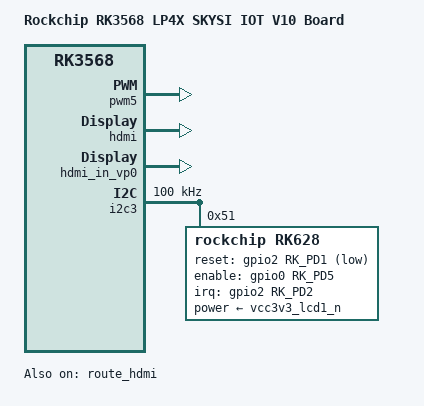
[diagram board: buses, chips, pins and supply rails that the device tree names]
// SPDX-License-Identifier: (GPL-2.0+ OR MIT)
/*
 * Copyright (c) 2020 Rockchip Electronics Co., Ltd.
 *
 */

#include "rk3568-evb-lp4x-s1-v10.dtsi"
#include "rk3568-android.dtsi"
/{
	model = "Rockchip RK3568 LP4X SKYSI IOT V10 Board";
	compatible = "rockchip,rk3568-iot-lp4x-s1-v10-rk628-gvi", "rockchip,rk3568";
};

&backlight {
	pwms = <&pwm5 0 5000000 1>;
	enable-gpios = <&gpio0 RK_PC5 GPIO_ACTIVE_HIGH>;
};

&backlight1 {
	pwms = <&pwm4 0 25000 0>;
};

&vcc3v3_lcd1_n {
	gpio = <&gpio0 RK_PD4 GPIO_ACTIVE_HIGH>;
};

&pwm5 {
	status = "okay";
};

&hdmi {
	status = "okay";
};

&hdmi_in_vp0 {
	status = "okay";
};

&hdmi_in_vp1 {
	status = "disabled";
};

&route_hdmi {
	status = "okay";
	connect = <&vp0_out_hdmi>;
};

&i2c3 {
	clock-frequency = <100000>;
	status = "okay";

    rk628: rk628@51 {
		status = "okay";
		compatible = "rockchip,rk628";
		reg = <0x51>;
		power-supply = <&vcc3v3_lcd1_n>;
		interrupt-parent = <&gpio2>;
		interrupts = <RK_PD2 IRQ_TYPE_LEVEL_HIGH>;
		reset-gpios = <&gpio2 RK_PD1 GPIO_ACTIVE_LOW>;
		enable-gpios = <&gpio0 RK_PD5 GPIO_ACTIVE_HIGH>;
		panel-backlight = <&backlight>;
		pinctrl-names = "default";
		pinctrl-0 = <&refclk_pins>;
		assigned-clocks = <&pmucru CLK_WIFI>;
		assigned-clock-rates = <24000000>;
		clocks = <&pmucru CLK_WIFI>;
		clock-names = "soc_24M";

		rk628,hdmi-in;
		src-mode-4k-yuv420;

		rk628-gvi {
			/* "rgb666"
			 * "rgb888"
			 * "rgb101010"
			 * "yuyv8"
			 * "yuyv10"
			 */
			bus-format = "rgb888";
			gvi,lanes = <8>;
			rockchip,division-mode;
			//"rockchip, gvi-frm-rst";
			status = "okay";
		};

		display-timings {
			src-timing {
				clock-frequency = <148500000>;
				hactive = <1920>;
				vactive = <1080>;
				hback-porch = <148>;
				hfront-porch = <88>;
				vback-porch = <36>;
				vfront-porch = <4>;
				hsync-len = <44>;
				vsync-len = <5>;
				hsync-active = <0>;
				vsync-active = <0>;
				de-active = <0>;
				pixelclk-active = <0>;
			};

			dst-timing {
				clock-frequency = <594000000>;
				hactive = <3840>;
				vactive = <2160>;
				hback-porch = <308>;
				hfront-porch = <164>;
				hsync-len = <88>;
				vback-porch = <72>;
				vfront-porch = <8>;
				vsync-len = <10>;
				hsync-active = <0>;
				vsync-active = <0>;
				de-active = <0>;
				pixelclk-active = <0>;
			};
		};
	};
};
